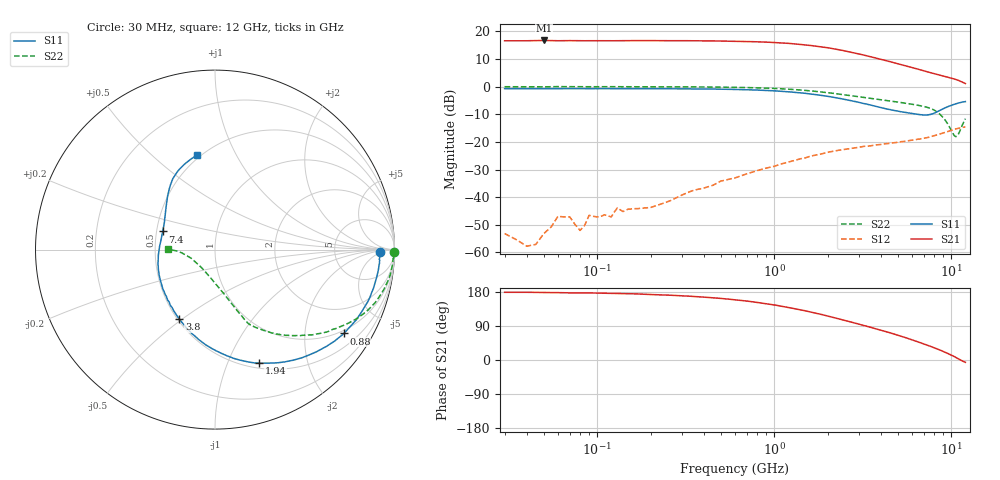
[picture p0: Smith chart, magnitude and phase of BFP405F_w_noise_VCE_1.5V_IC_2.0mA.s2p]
! Infineon Technologies  Discrete & RF Semiconductors
! BFP405F
! VCE =  1.5 V,  IC =  2.0 mA
! Common Emitter S-Parameters:  Nov 2015
# GHz  S  MA  R  50
!  f  S11  S21  S12  S22
! GHz  MAG  ANG  MAG  ANG  MAG  ANG  MAG  ANG
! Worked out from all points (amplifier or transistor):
!   239 points, 30 MHz to 12 GHz, reference 50 ohm
!   highest |S21| = 16.7 dB at 50 MHz (marker M1)
!   |S21| within 3 dB of that: start of sweep to 2.162 GHz
!   unconditionally stable (mu >= 1): 3.948 GHz to end of sweep
!   at 300 MHz: K = -0.02, MSG = 27.9 dB, |S12| = -39.3 dB
!   at 1.88 GHz: K = 0.39, MSG = 19.3 dB, |S12| = -24.2 dB
!   at 12 GHz: K = 1.67, MAG = 3.0 dB, |S12| = -14.6 dB
!   lowest NFmin = 1.01 dB at 450 MHz
!   S11 on the Smith chart (normalised r, x): 30 MHz: 23, -5; 880 MHz: 0.90, -3.13; 1.94 GHz: 0.56, -1.30; 3.8 GHz: 0.51, -0.49; 7.4 GHz: 0.54, +0.12; 12 GHz: 0.48, +0.71
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0.03  0.9188 -1.0  6.735 178.7  0.0022 114.6  0.9947 -0.7
0.04  0.9184 -1.5  6.749 178.7  0.0013 108.3  0.9953 -0.8
0.05  0.913 -2.2  6.833 177.9  0.0022 34.9  0.9906 -1.2
0.06  0.92 -2.3  6.752 177.8  0.0045 97.1  1 -1.1
0.08  0.9177 -3.1  6.741 176.7  0.0025 151.8  0.9968 -1.6
0.085  0.9173 -3.2  6.752 176.8  0.0031 108.1  0.9963 -1.7
0.09  0.9169 -3.4  6.764 176.9  0.0047 86.5  0.9958 -1.9
0.15  0.9182 -5.7  6.786 175.2  0.0061 93.6  0.9933 -3.0
0.24  0.9147 -9.1  6.762 171.6  0.0079 88.1  0.9922 -5.0
0.38  0.9069 -14.5  6.73 166.7  0.0141 83.4  0.9869 -7.8
0.6  0.8883 -22.7  6.604 158.8  0.0223 79.5  0.9709 -12.4
0.88  0.8559 -33.1  6.391 149.2  0.0329 74.9  0.9426 -17.8
1.18  0.8092 -43.8  6.078 139.4  0.0424 69.1  0.9021 -23.3
1.64  0.73 -59.3  5.489 125.7  0.0561 61.7  0.8316 -30.5
1.94  0.678 -68.8  5.115 117.7  0.063 57.5  0.7855 -34.9
2.56  0.5778 -86.7  4.357 103.2  0.0741 49.6  0.702 -42.8
3.8  0.4341 -117.2  3.245 81.5  0.0885 41.0  0.5929 -52.8
4.5  0.3853 -133.3  2.827 71.8  0.0941 38.2  0.5505 -56.6
5.7  0.335 -160.2  2.316 56.6  0.1049 35.0  0.4917 -62.2
7.4  0.3083 160.9  1.832 38.1  0.1206 33.1  0.4161 -67.4
10.6  0.4884 114.2  1.345 6.7  0.1719 23.8  0.1245 -133.4
12  0.5353 100.5  1.136 -6.1  0.1872 18.2  0.2631 179.3
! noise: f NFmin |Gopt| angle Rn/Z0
0.45  1.01  0.58  7  0.45
0.9  1.03  0.54  15  0.46
1.5  1.15  0.52  21  0.41
1.9  1.2  0.49  29  0.4
2.4  1.39  0.46  38  0.41
3  1.47  0.43  49  0.39
3.5  1.53  0.42  59  0.36
4.5  1.72  0.35  76  0.3
5.5  1.97  0.23  93  0.22
